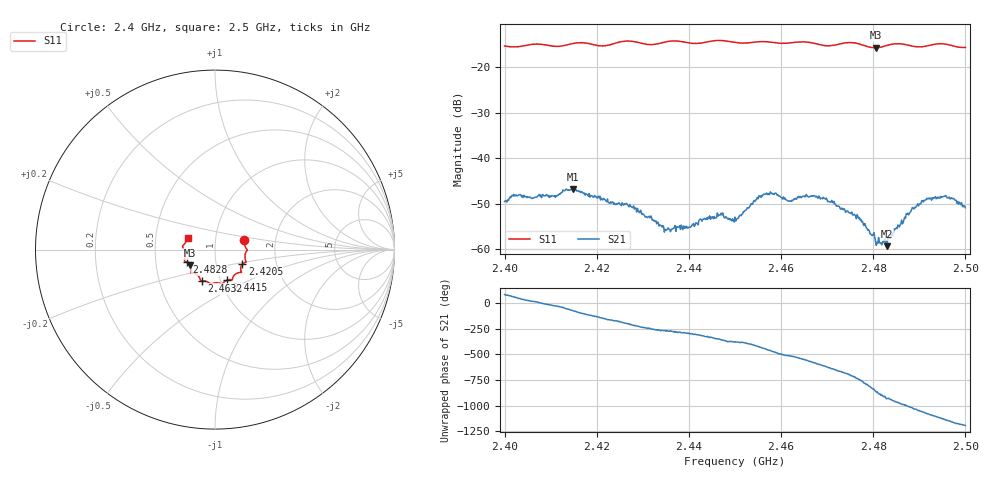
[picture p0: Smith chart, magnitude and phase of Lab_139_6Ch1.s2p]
# Hz S RI R 50
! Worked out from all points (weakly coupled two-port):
!   601 points, 2.4 GHz to 2.5 GHz, reference 50 ohm
!   highest |S21| = -46.78 dB at 2.4148 GHz (marker M1); lowest = -59.4 dB at 2.483 GHz (marker M2)
!   lowest |S11| = -15.7 dB at 2.4805 GHz (marker M3), VSWR 1.39, Z = 37.3 - j6.68 ohm
!   |S11| at or under -10 dB: start of sweep to end of sweep
!   S12 and S22 are empty: the file has one direction only
!   S11 on the Smith chart (normalised r, x): 2.4 GHz: 1.38, +0.15; 2.4205 GHz: 1.34, -0.23; 2.4415 GHz: 1.07, -0.38; 2.4632 GHz: 0.82, -0.29; 2.4828 GHz: 0.72, -0.10; 2.5 GHz: 0.73, +0.10
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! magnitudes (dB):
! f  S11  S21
! 2.4 GHz  -15.3  -49.5
! 2.4148 GHz  -14.8  -46.8
! 2.4167 GHz  -14.6  -47.3
! 2.4205 GHz  -15.3  -48.7
! 2.4268 GHz  -14.2  -50.4
! 2.4333 GHz  -14.8  -54.2
! 2.4352 GHz  -14.4  -55.8
! 2.4415 GHz  -14.8  -54.2
! 2.4467 GHz  -14.1  -52.5
! 2.45 GHz  -14.5  -53.0
! 2.4563 GHz  -14.3  -47.9
! 2.4632 GHz  -14.5  -48.8
! 2.4667 GHz  -14.6  -48.3
! 2.4765 GHz  -14.7  -52.4
! 2.4805 GHz  -15.7  -58.3
! 2.4828 GHz  -15.2  -58.2
! 2.483 GHz  -15.2  -59.4
! 2.4833 GHz  -15.1  -57.7
! 2.4877 GHz  -15.2  -52.5
! 2.4915 GHz  -15.3  -49.1
! 2.496 GHz  -15.0  -48.7
! 2.5 GHz  -15.6  -50.9
